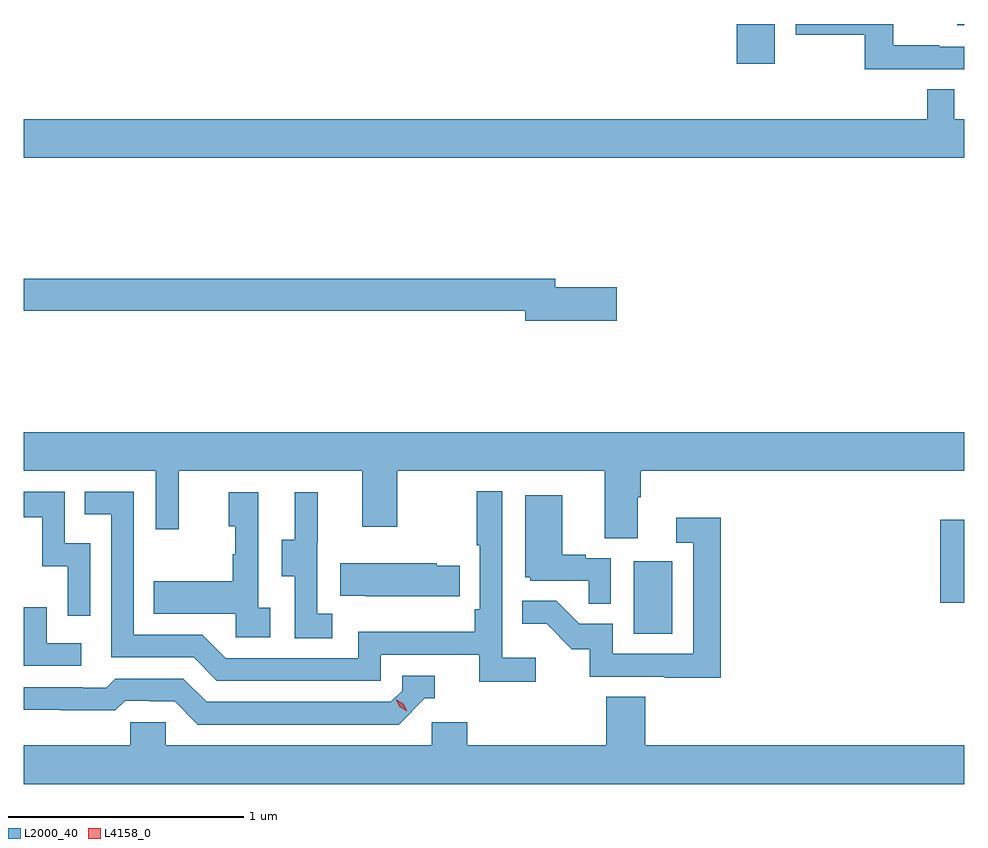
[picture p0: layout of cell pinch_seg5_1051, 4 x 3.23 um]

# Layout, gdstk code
import gdstk
lib = gdstk.Library(unit=1e-6, precision=1e-09)
def R(c, l, rs):  # rectangles x0, y0, x1, y1
    for r in rs: c.add(gdstk.rectangle(r[:2], r[2:], *l))
def P(c, l, *ps):  # polygons
    for p in ps: c.add(gdstk.Polygon(p, *l))
L2000_40 = (2000, 40)
L4158_0 = (4158, 0)

pinch_seg5_1051 = lib.new_cell('pinch_seg5_1051')
R(pinch_seg5_1051, L2000_40, [(845.792,869.388,845.956,869.695), (847.094,869.519,847.197,869.872), (846.23,871.812,846.391,871.98), (847.168,871.974,847.197,871.98)])
P(pinch_seg5_1051, L2000_40, [(847.197,871.884),(847.091,871.884),(847.091,871.889),(846.895,871.889),(846.895,871.98),(846.48,871.98),(846.48,871.935),(846.774,871.935),(846.774,871.788),(847.197,871.788)],
  [(847.197,871.576),(847.155,871.576),(847.155,871.703),(847.039,871.703),(847.039,871.576),(843.197,871.576),(843.197,871.412),(847.197,871.412)],
  [(845.719,870.86),(845.458,870.86),(845.458,870.896),(843.197,870.896),(843.197,870.76),(845.33,870.76),(845.33,870.718),(845.719,870.718)],
  [(845.809,869.968),(845.822,869.968),(845.822,870.08),(847.197,870.08),(847.197,870.244),(843.197,870.244),(843.197,870.08),(843.759,870.08),(843.759,869.832),(843.857,869.832),(843.857,870.08),(844.637,870.08),(844.637,869.841),(844.785,869.841),(844.785,870.08),(845.669,870.08),(845.669,869.794),(845.809,869.794)],
  [(845.374,869.284),(845.232,869.284),(845.232,869.992),(845.124,869.992),(845.124,869.764),(845.136,869.764),(845.136,869.491),(845.116,869.491),(845.116,869.395),(844.62,869.395),(844.62,869.283),(844.056,869.283),(843.957,869.382),(843.666,869.382),(843.666,869.991),(843.457,869.991),(843.457,869.895),(843.57,869.895),(843.57,869.286),(843.92,869.286),(844.019,869.187),(844.716,869.187),(844.716,869.298),(845.135,869.298),(845.135,869.182),(845.374,869.182)],
  [(843.48,869.772),(843.372,869.772),(843.372,869.991),(843.197,869.991),(843.197,869.883),(843.275,869.883),(843.275,869.675),(843.384,869.675),(843.384,869.463),(843.48,869.463)],
  [(844.246,869.498),(844.194,869.498),(844.194,869.989),(844.07,869.989),(844.07,869.844),(844.096,869.844),(844.096,869.726),(844.086,869.726),(844.086,869.611),(843.751,869.611),(843.751,869.471),(844.098,869.471),(844.098,869.373),(844.246,869.373)],
  [(844.51,869.471),(844.446,869.471),(844.446,869.775),(844.448,869.775),(844.448,869.989),(844.349,869.989),(844.349,869.787),(844.295,869.787),(844.295,869.632),(844.35,869.632),(844.35,869.368),(844.51,869.368)],
  [(845.694,869.709),(845.588,869.709),(845.588,869.722),(845.488,869.722),(845.488,869.977),(845.33,869.977),(845.33,869.628),(845.352,869.628),(845.352,869.613),(845.599,869.613),(845.599,869.515),(845.694,869.515)],
  [(846.161,869.881),(845.973,869.881),(845.973,869.775),(846.045,869.775),(846.045,869.301),(845.703,869.301),(845.703,869.43),(845.559,869.43),(845.461,869.528),(845.317,869.528),(845.317,869.429),(845.421,869.429),(845.528,869.322),(845.605,869.322),(845.605,869.205),(845.923,869.205),(845.923,869.2),(846.161,869.2)],
  [(845.051,869.676),(844.953,869.676),(844.953,869.686),(844.543,869.686),(844.543,869.549),(844.651,869.549),(844.651,869.546),(845.051,869.546)],
  [(843.442,869.346),(843.294,869.346),(843.294,869.5),(843.197,869.5),(843.197,869.391),(843.198,869.391),(843.198,869.25),(843.442,869.25)],
  [(844.902,869.112),(844.945,869.112),(844.945,869.208),(844.806,869.208),(844.806,869.145),(844.758,869.097),(843.975,869.097),(843.876,869.196),(843.587,869.196),(843.548,869.157),(843.449,869.157),(843.449,869.16),(843.197,869.16),(843.197,869.063),(843.354,869.063),(843.354,869.061),(843.587,869.061),(843.629,869.103),(843.732,869.103),(843.732,869.1),(843.839,869.1),(843.938,869.001),(844.791,869.001)],
  [(847.197,868.912),(845.84,868.912),(845.84,869.12),(845.675,869.12),(845.675,868.912),(845.084,868.912),(845.084,869.01),(844.932,869.01),(844.932,868.912),(843.801,868.912),(843.801,869.01),(843.651,869.01),(843.651,868.912),(843.197,868.912),(843.197,868.748),(847.197,868.748)])
P(pinch_seg5_1051, L4158_0, [(844.828,869.058),(844.797,869.077),(844.78,869.109),(844.78,869.109),(844.78,869.109),(844.811,869.09),(844.828,869.058),(844.828,869.058)])

lib.write_gds('pinch_seg5_1051.gds')
